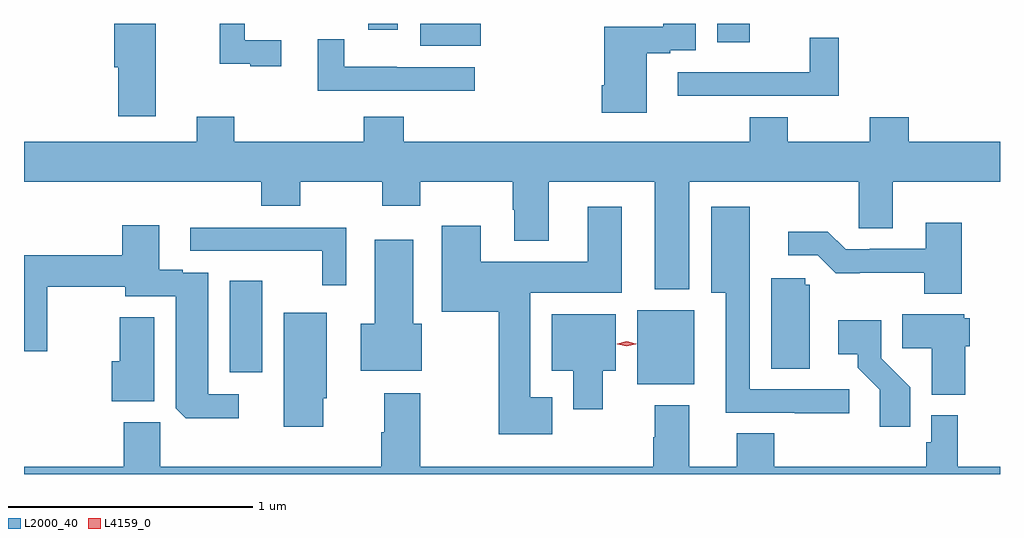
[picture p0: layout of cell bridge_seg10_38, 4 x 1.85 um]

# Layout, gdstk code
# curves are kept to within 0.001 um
import gdstk
lib = gdstk.Library(unit=1e-6, precision=1e-09)
def R(c, l, rs):  # rectangles x0, y0, x1, y1
    for r in rs: c.add(gdstk.rectangle(r[:2], r[2:], *l))
def P(c, l, *ps):  # polygons
    for p in ps: c.add(gdstk.Polygon(p, *l))
L2000_40 = (2000, 40)
L4159_0 = (4159, 0)

bridge_seg10_38 = lib.new_cell('bridge_seg10_38')
R(bridge_seg10_38, L2000_40, [(930.491,1248.869,930.724,1249.174), (928.82,1248.918,928.954,1249.294), (929.6,1250.258,929.848,1250.348), (930.818,1250.271,930.952,1250.348), (929.387,1250.322,929.509,1250.348)])
P(bridge_seg10_38, L2000_40, [(928.516,1250.348),(928.346,1250.348),(928.346,1250.169),(928.364,1250.169),(928.364,1249.968),(928.516,1249.968)],
  [(930.529,1250.226),(930.626,1250.226),(930.626,1250.238),(930.73,1250.238),(930.73,1250.348),(930.596,1250.348),(930.596,1250.334),(930.356,1250.334),(930.356,1250.095),(930.344,1250.095),(930.344,1249.983),(930.529,1249.983)],
  [(929.032,1250.28),(928.881,1250.28),(928.881,1250.348),(928.78,1250.348),(928.78,1250.183),(928.904,1250.183),(928.904,1250.172),(929.032,1250.172)],
  [(931.316,1250.29),(931.198,1250.29),(931.198,1250.148),(930.657,1250.148),(930.657,1250.052),(931.316,1250.052)],
  [(929.824,1250.169),(929.504,1250.169),(929.504,1250.17),(929.29,1250.17),(929.29,1250.284),(929.18,1250.284),(929.18,1250.073),(929.824,1250.073)],
  [(930.703,1249.7),(931.398,1249.7),(931.398,1249.51),(931.537,1249.51),(931.537,1249.7),(931.977,1249.7),(931.977,1249.864),(931.604,1249.864),(931.604,1249.963),(931.444,1249.963),(931.444,1249.864),(931.107,1249.864),(931.107,1249.963),(930.952,1249.963),(930.952,1249.864),(929.534,1249.864),(929.534,1249.966),(929.369,1249.966),(929.369,1249.864),(928.838,1249.864),(928.838,1249.966),(928.685,1249.966),(928.685,1249.864),(927.977,1249.864),(927.977,1249.7),(928.949,1249.7),(928.949,1249.601),(929.109,1249.601),(929.109,1249.7),(929.446,1249.7),(929.446,1249.601),(929.601,1249.601),(929.601,1249.7),(929.98,1249.7),(929.98,1249.584),(929.987,1249.584),(929.987,1249.457),(930.127,1249.457),(930.127,1249.7),(930.563,1249.7),(930.563,1249.259),(930.703,1249.259)],
  [(931.36,1248.849),(930.951,1248.849),(930.951,1249.348),(930.952,1249.348),(930.952,1249.597),(930.794,1249.597),(930.794,1249.244),(930.854,1249.244),(930.854,1248.753),(931.135,1248.753),(931.135,1248.751),(931.36,1248.751)],
  [(930.142,1248.817),(930.052,1248.817),(930.052,1249.244),(930.427,1249.244),(930.427,1249.597),(930.287,1249.597),(930.287,1249.372),(929.848,1249.372),(929.848,1249.519),(929.69,1249.519),(929.69,1249.166),(929.923,1249.166),(929.923,1248.665),(930.142,1248.665)],
  [(931.821,1249.531),(931.673,1249.531),(931.673,1249.425),(931.444,1249.425),(931.444,1249.422),(931.344,1249.422),(931.271,1249.495),(931.11,1249.495),(931.11,1249.398),(931.23,1249.398),(931.303,1249.325),(931.666,1249.326),(931.666,1249.241),(931.821,1249.241)],
  [(928.858,1248.828),(928.732,1248.828),(928.732,1249.326),(928.628,1249.326),(928.628,1249.339),(928.531,1249.339),(928.531,1249.522),(928.379,1249.522),(928.379,1249.399),(927.977,1249.399),(927.977,1249.005),(928.072,1249.005),(928.072,1249.27),(928.391,1249.27),(928.391,1249.23),(928.598,1249.23),(928.598,1248.772),(928.64,1248.731),(928.858,1248.731)],
  [(929.298,1249.512),(928.659,1249.512),(928.659,1249.416),(929.2,1249.416),(929.2,1249.275),(929.298,1249.275)],
  [(929.608,1249.117),(929.572,1249.117),(929.572,1249.462),(929.414,1249.462),(929.414,1249.117),(929.357,1249.117),(929.357,1248.926),(929.608,1248.926)],
  [(931.198,1249.278),(931.179,1249.278),(931.179,1249.305),(931.04,1249.305),(931.04,1248.934),(931.198,1248.934)],
  [(929.203,1248.813),(929.218,1248.813),(929.218,1249.162),(929.042,1249.162),(929.042,1248.696),(929.203,1248.696)],
  [(931.834,1249.026),(931.854,1249.026),(931.854,1249.14),(931.83,1249.14),(931.83,1249.156),(931.576,1249.156),(931.576,1249.018),(931.697,1249.018),(931.697,1248.827),(931.834,1248.827)],
  [(930.349,1248.926),(930.403,1248.926),(930.403,1249.156),(930.14,1249.156),(930.14,1248.926),(930.227,1248.926),(930.227,1248.768),(930.349,1248.768)],
  [(928.51,1249.145),(928.37,1249.145),(928.37,1248.963),(928.337,1248.963),(928.337,1248.8),(928.51,1248.8)],
  [(931.61,1248.858),(931.491,1248.977),(931.491,1249.132),(931.314,1249.132),(931.314,1248.992),(931.394,1248.992),(931.394,1248.937),(931.485,1248.847),(931.485,1248.696),(931.61,1248.696)],
  [(931.977,1248.532),(931.804,1248.532),(931.804,1248.742),(931.695,1248.742),(931.695,1248.633),(931.675,1248.633),(931.675,1248.532),(931.052,1248.532),(931.052,1248.668),(930.899,1248.668),(930.899,1248.532),(930.703,1248.532),(930.703,1248.784),(930.563,1248.784),(930.563,1248.653),(930.556,1248.653),(930.556,1248.532),(929.601,1248.532),(929.601,1248.832),(929.453,1248.832),(929.453,1248.674),(929.441,1248.674),(929.441,1248.532),(928.535,1248.532),(928.535,1248.714),(928.385,1248.714),(928.385,1248.532),(927.977,1248.532),(927.977,1248.5),(931.977,1248.5)])
P(bridge_seg10_38, L4159_0, [(930.447,1249.025),(930.409,1249.034),(930.408,1249.035),(930.409,1249.035),(930.447,1249.045),(930.485,1249.035),(930.486,1249.035),(930.485,1249.034)])

lib.write_gds('bridge_seg10_38.gds')
